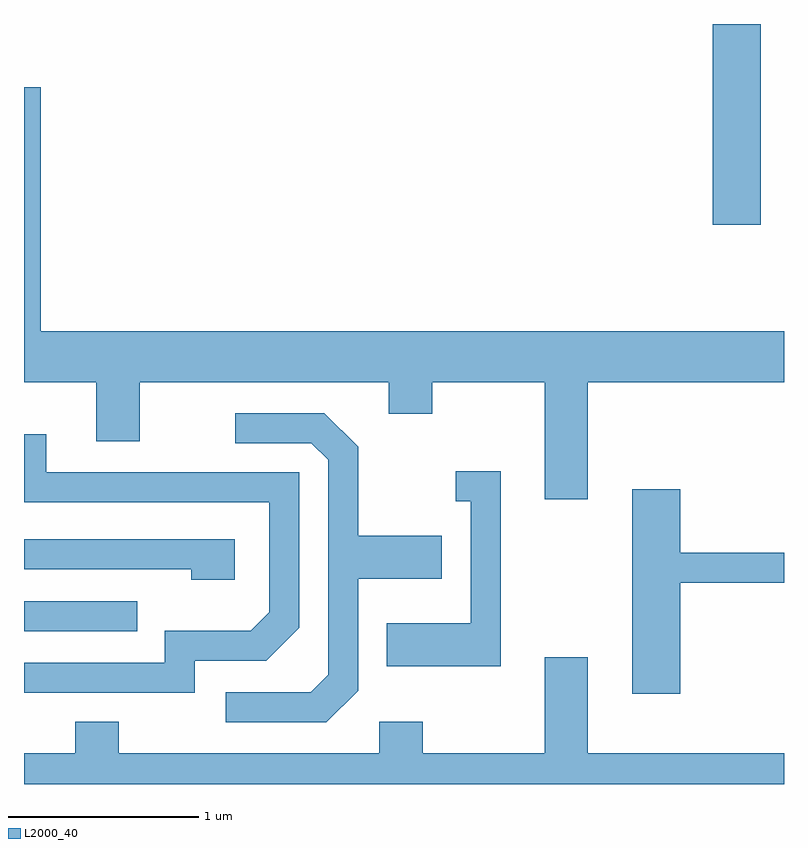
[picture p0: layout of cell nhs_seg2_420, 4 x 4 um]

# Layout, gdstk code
import gdstk
lib = gdstk.Library(unit=1e-6, precision=1e-09)
def R(c, l, rs):  # rectangles x0, y0, x1, y1
    for r in rs: c.add(gdstk.rectangle(r[:2], r[2:], *l))
def P(c, l, *ps):  # polygons
    for p in ps: c.add(gdstk.Polygon(p, *l))
L2000_40 = (2000, 40)

nhs_seg2_420 = lib.new_cell('nhs_seg2_420')
R(nhs_seg2_420, L2000_40, [(197.611,1002.606,198.208,1002.764), (201.236,1004.746,201.489,1005.802)])
P(nhs_seg2_420, L2000_40, [(200.579,1003.916),(201.611,1003.916),(201.611,1004.184),(197.699,1004.184),(197.699,1005.469),(197.611,1005.469),(197.611,1003.916),(197.991,1003.916),(197.991,1003.606),(198.219,1003.606),(198.219,1003.916),(199.531,1003.916),(199.531,1003.751),(199.759,1003.751),(199.759,1003.916),(200.351,1003.916),(200.351,1003.301),(200.579,1003.301)],
  [(199.369,1002.294),(199.369,1002.881),(199.809,1002.881),(199.809,1003.109),(199.369,1003.109),(199.369,1003.577),(199.192,1003.754),(198.723,1003.754),(198.723,1003.596),(199.124,1003.596),(199.211,1003.509),(199.211,1002.377),(199.119,1002.284),(198.673,1002.284),(198.673,1002.126),(199.202,1002.126)],
  [(198.509,1002.451),(198.887,1002.451),(199.059,1002.624),(199.059,1003.444),(197.729,1003.444),(197.729,1003.643),(197.611,1003.643),(197.611,1003.286),(198.901,1003.286),(198.901,1002.707),(198.804,1002.609),(198.351,1002.609),(198.351,1002.439),(197.611,1002.439),(197.611,1002.281),(198.509,1002.281)],
  [(200.119,1003.449),(199.883,1003.449),(199.883,1003.291),(199.961,1003.291),(199.961,1002.649),(199.521,1002.649),(199.521,1002.421),(200.119,1002.421)],
  [(201.064,1002.861),(201.611,1002.861),(201.611,1003.019),(201.064,1003.019),(201.064,1003.354),(200.811,1003.354),(200.811,1002.276),(201.064,1002.276)],
  [(198.719,1003.089),(197.611,1003.089),(197.611,1002.931),(198.491,1002.931),(198.491,1002.876),(198.719,1002.876)],
  [(201.611,1001.964),(200.579,1001.964),(200.579,1002.469),(200.351,1002.469),(200.351,1001.964),(199.709,1001.964),(199.709,1002.129),(199.481,1002.129),(199.481,1001.964),(198.109,1001.964),(198.109,1002.129),(197.881,1002.129),(197.881,1001.964),(197.611,1001.964),(197.611,1001.802),(201.611,1001.802)])

lib.write_gds('nhs_seg2_420.gds')
